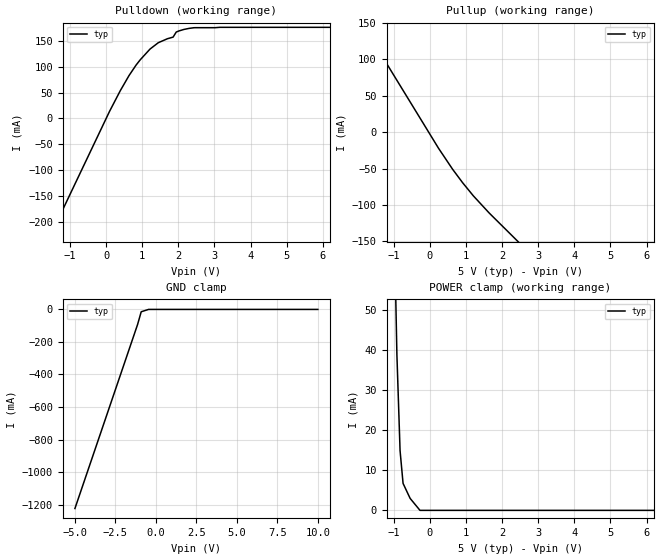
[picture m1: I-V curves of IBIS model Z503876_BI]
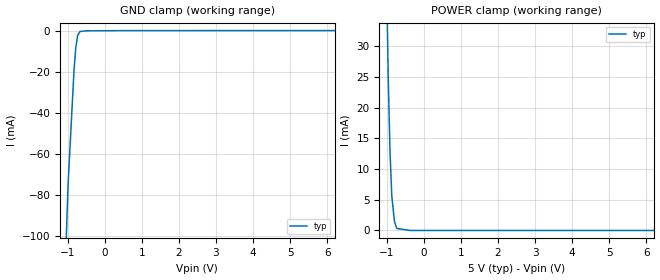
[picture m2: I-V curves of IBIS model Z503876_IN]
| YOU ARE ONLY AUTHORIZED TO USE THIS SOFTWARE
| ACCORDING TO LICENSOR'S LICENSE RESTRICTIONS.
[IBIS Ver] 3.1
[File Name] mc74act620n.ibs
[File Rev] 2.0
[Source] Measured and created by ICX Technology
[Date] Friday 7/14/00 9:08:02 AM
[Copyright]
| (C) COPYRIGHT 1993-2000
| MENTOR GRAPHICS CORPORATION
| ICX STANDARD LIBRARY, ICX PROJECT MODELING,
| ICX CUSTOM MODELING, ICX VENDOR MODEL
| ALL RIGHTS RESERVED.
| THE FOLLOWING ARE TRADEMARKS OR SERVICE MARKS OF
| MENTOR GRAPHICS CORPORATION:ICX (R), ICX STANDARD
| LIBRARY(R), ICX PROJECT MODELING(R), ICX CUSTOM
| MODELING(R), qualityIBIS(TM), MODELVIEWER(TM),
| AND MODELEDITOR(TM)
| ALL COPIES OF SOFTWARE, INCLUDING BUT NOT LIMITED TO
| ANY MODIFICATIONS, ENHANCEMENTS OR DERIVATIVE WORKS,
| MUST CONTAIN ALL MENTOR GRAPHICS CORPORATION'S
| NOTICES AND LEGENDS, INCLUDING THOSE EMBEDDED IN
| SOFTWARE AND THOSE AFFIXED TO SOFTWARE MEDIUM
| AND CONTAINER, AS RECEIVED FROM MENTOR GRAPHICS
| CORPORATION.
|  ZAP Model Builder 2.7
[Component] MC74ACT620N
[Manufacturer] OnSemiconductor
[Package]
| variable   typ   min   max
R_pkg  .216ohms NA NA
L_pkg  5.76nH NA NA
C_pkg  1.29pF NA NA
[Pin] signal_name  model_name  R_pin  L_pin C_pin
1 GAB Z503876_IN .232 9.76n 1.87p
2 A0 Z503876_BI .224 7.26n 1.58p
3 A1 Z503876_BI .216 5.26n 1.29p
4 A2 Z503876_BI .208 3.76n 1.0p
5 A3 Z503876_BI .2 2.76n .71p
6 A4 Z503876_BI .2 2.76n .71p
7 A5 Z503876_BI .208 3.76n 1.0p
8 A6 Z503876_BI .216 5.26n 1.29p
9 A7 Z503876_BI .224 7.26n 1.58p
10 GND GND .232 9.76n 1.87p
11 B7 Z503876_BI .232 9.76n 1.87p
12 B6 Z503876_BI .224 7.26n 1.58p
13 B5 Z503876_BI .216 5.26n 1.29p
14 B4 Z503876_BI .208 3.76n 1.0p
15 B3 Z503876_BI .2 2.76n .71p
16 B2 Z503876_BI .2 2.76n .71p
17 B1 Z503876_BI .208 3.76n 1.0p
18 B0 Z503876_BI .216 5.26n 1.29p
19 _GBA Z503876_IN .224 7.26n 1.58p
20 VCC POWER .232 9.76n 1.87p
| Models and submodels in the file (2): Z503876_BI (I/O), Z503876_IN (Input)
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| (C) COPYRIGHT 1993-2000
| MENTOR GRAPHICS CORPORATION
| ICX STANDARD LIBRARY, ICX PROJECT MODELING,
| ICX CUSTOM MODELING, ICX VENDOR MODEL
| ALL RIGHTS RESERVED.
| THE FOLLOWING ARE TRADEMARKS OR SERVICE MARKS OF
| MENTOR GRAPHICS CORPORATION:ICX (R), ICX STANDARD
| LIBRARY(R), ICX PROJECT MODELING(R), ICX CUSTOM
| MODELING(R), qualityIBIS(TM), MODELVIEWER(TM),
| AND MODELEDITOR(TM)
| ALL COPIES OF SOFTWARE, INCLUDING BUT NOT LIMITED TO
| ANY MODIFICATIONS, ENHANCEMENTS OR DERIVATIVE WORKS,
| MUST CONTAIN ALL MENTOR GRAPHICS CORPORATION'S
| NOTICES AND LEGENDS, INCLUDING THOSE EMBEDDED IN
| SOFTWARE AND THOSE AFFIXED TO SOFTWARE MEDIUM
| AND CONTAINER, AS RECEIVED FROM MENTOR GRAPHICS
| CORPORATION.
| Model Application Version 1.89 2/18/99.
[Model] Z503876_BI
Model_type I/O
Vinl=800.0mV
Vinh=2.000V
Vref=0.000V
Rref=500.0ohms
Cref=50.00pF
Vmeas=1.500V
C_comp 8.000pF NA NA
| variable typ   min   max
[Voltage Range] 5.000V NA NA
[POWER Clamp Reference] 5.000V NA NA
[Pullup Reference] 5.000V NA NA
[Pulldown Reference] 0.000V NA NA
[GND Clamp Reference] 0.000V NA NA
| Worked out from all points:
|   slope of the pulldown table from 0 to 0.75 V, typ, clamps not added: 7.86 ohm
|   slope of the pullup table from 0 to 0.75 V, typ, clamps not added: 13.3 ohm
[GND Clamp]
-5V       -1.224A    NA         NA
-1.128V   -91.83mA   NA         NA
-907.2mV  -14.42mA   NA         NA
-453.6mV  0A         NA         NA
10V       0A         NA         NA
[Pulldown]
-5V       -736mA     NA         NA
92.74mV   13.36mA    NA         NA
634.8mV   83.17mA    NA         NA
943.5mV   113.6mA    NA         NA
1.217V    134.6mA    NA         NA
1.446V    146.9mA    NA         NA
1.855V    157.7mA    NA         NA
1.942V    167.5mA    NA         NA
2.017V    169.7mA    NA         NA
2.429V    175.9mA    NA         NA
3.149V    176.7mA    NA         NA
10V       176.7mA    NA         NA
[Pullup]
-5V       401.9mA    NA         NA
239mV     -22.12mA   NA         NA
628mV     -50.91mA   NA         NA
909mV     -69.62mA   NA         NA
1.206V    -87.63mA   NA         NA
1.645V    -111.2mA   NA         NA
10V       -521.6mA   NA         NA
[POWER Clamp]
-5V       2.356A     NA         NA
-1.04V    96.21mA    NA         NA
-913mV    38.99mA    NA         NA
-825mV    14.91mA    NA         NA
-742mV    6.739mA    NA         NA
-547mV    3mA        NA         NA
-273.5mV  0A         NA         NA
10V       0A         NA         NA
[Ramp]
| variable typ min max
dV/dt_r 2.947/613.0p NA NA
dV/dt_f 2.947/478.9p NA NA
R_load = 500.0Ohms
| (C) COPYRIGHT 1993-2000
| MENTOR GRAPHICS CORPORATION
| ICX STANDARD LIBRARY, ICX PROJECT MODELING,
| ICX CUSTOM MODELING, ICX VENDOR MODEL
| ALL RIGHTS RESERVED.
| THE FOLLOWING ARE TRADEMARKS OR SERVICE MARKS OF
| MENTOR GRAPHICS CORPORATION:ICX (R), ICX STANDARD
| LIBRARY(R), ICX PROJECT MODELING(R), ICX CUSTOM
| MODELING(R), qualityIBIS(TM), MODELVIEWER(TM),
| AND MODELEDITOR(TM)
| ALL COPIES OF SOFTWARE, INCLUDING BUT NOT LIMITED TO
| ANY MODIFICATIONS, ENHANCEMENTS OR DERIVATIVE WORKS,
| MUST CONTAIN ALL MENTOR GRAPHICS CORPORATION'S
| NOTICES AND LEGENDS, INCLUDING THOSE EMBEDDED IN
| SOFTWARE AND THOSE AFFIXED TO SOFTWARE MEDIUM
| AND CONTAINER, AS RECEIVED FROM MENTOR GRAPHICS
| CORPORATION.
| Model Application Version 1.89 2/18/99.
[Model] Z503876_IN
Model_type Input
Vinl = 800.0mV
Vinh = 2.000V
C_comp 4.000pF NA NA
| variable typ   min   max
[Voltage Range] 5.000V NA NA
[GND Clamp Reference] 0.000V NA NA
[POWER Clamp Reference] 5.000V NA NA
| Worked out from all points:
|   GND clamp passes 1 mA (typ) near -0.69 V on its own axis
|   POWER clamp passes 1 mA (typ) near -0.77 V on its own axis
[GND Clamp]
-5V       -2.796A    NA         NA
-1.089V   -130mA     NA         NA
-986.1mV  -74.99mA   NA         NA
-825.3mV  -19mA      NA         NA
-779.1mV  -8.388mA   NA         NA
-727.5mV  -2.161mA   NA         NA
-664.6mV  -314.3uA   NA         NA
-498.5mV  36.77uA    NA         NA
527.2mV   136.8uA    NA         NA
2.172V    136.8uA    NA         NA
2.72V     159.6uA    NA         NA
10V       159.6uA    NA         NA
[POWER Clamp]
-5V       2.995A     NA         NA
-1.132V   109.9mA    NA         NA
-1.02V    47mA       NA         NA
-961mV    25.05mA    NA         NA
-913mV    12.98mA    NA         NA
-864mV    5.637mA    NA         NA
-791mV    1.41mA     NA         NA
-728mV    318.1uA    NA         NA
-364mV    0A         NA         NA
10V       0A         NA         NA
